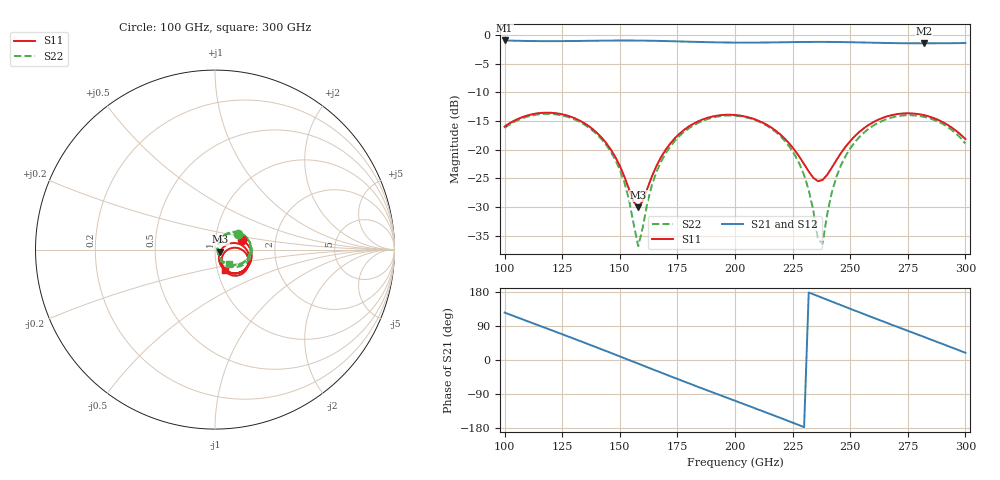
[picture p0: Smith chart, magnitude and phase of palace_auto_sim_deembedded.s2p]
! Created with skrf 1.11.0 (http://scikit-rf.org).
# GHz S DB R 50.0
!freq dBS11 angS11 dBS21 angS21 dBS12 angS12 dBS22 angS22
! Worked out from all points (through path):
!   101 points, 100 GHz to 300 GHz, reference 50 ohm
!   highest |S21| = -0.93 dB at 100 GHz (marker M1); lowest = -1.4 dB at 282 GHz (marker M2)
!   group delay of S21, straight-line fit = 6.49 ps
!   lowest |S11| = -30.1 dB at 158 GHz (marker M3), VSWR 1.06, Z = 53 - j1.28 ohm
!   |S11| at or under -10 dB: start of sweep to end of sweep
!   |S22| runs from -36.9 to -13.7 dB; largest |S21 - S12| = 1.6e-13
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100  -15.97 19.1  -0.93 125.1  -0.93 125.1  -16.19 35.0
116  -13.58 -13.3  -1.05 88.5  -1.05 88.5  -13.79 3.2
134  -15.23 -49.8  -1.01 47.2  -1.01 47.2  -15.46 -33.3
144  -18.80 -66.6  -0.96 23.7  -0.96 23.7  -19.13 -52.3
150  -22.83 -70.3  -0.94 9.5  -0.94 9.5  -23.50 -60.6
154  -26.90 -61.2  -0.94 -0.1  -0.94 -0.1  -28.77 -58.6
158  -30.09 -22.8  -0.95 -9.6  -0.95 -9.6  -36.86 -4.1
164  -24.60 20.5  -0.99 -24.0  -0.99 -24.0  -26.09 59.4
168  -21.24 22.5  -1.02 -33.5  -1.02 -33.5  -22.01 57.1
184  -15.06 -0.5  -1.19 -70.9  -1.19 -70.9  -15.31 28.6
200  -13.95 -29.8  -1.30 -107.6  -1.30 -107.6  -14.07 -3.3
222  -18.24 -62.9  -1.24 -158.3  -1.24 -158.3  -18.64 -46.6
230  -22.53 -60.3  -1.20 -177.1  -1.20 -177.1  -24.47 -58.1
234  -24.91 -45.4  -1.19 173.4  -1.19 173.4  -30.66 -52.9
236  -25.50 -33.0  -1.18 168.6  -1.18 168.6  -35.66 -30.1
238  -25.30 -19.7  -1.18 163.8  -1.18 163.8  -36.38 28.4
242  -23.15 -1.0  -1.19 154.3  -1.19 154.3  -27.49 63.1
248  -19.49 5.7  -1.23 140.0  -1.23 140.0  -21.11 59.2
256  -16.24 -1.3  -1.29 121.1  -1.29 121.1  -17.01 44.5
268  -13.98 -20.2  -1.39 93.2  -1.39 93.2  -14.39 19.8
282  -13.97 -43.8  -1.43 60.9  -1.43 60.9  -14.26 -9.6
300  -18.15 -64.4  -1.39 19.1  -1.39 19.1  -18.91 -45.9
